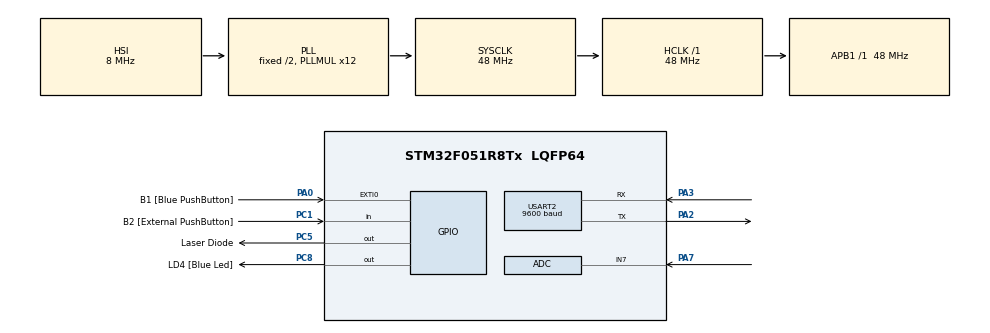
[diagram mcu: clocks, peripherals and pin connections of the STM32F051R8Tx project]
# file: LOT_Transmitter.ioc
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Dma.ADC.1.Direction=DMA_PERIPH_TO_MEMORY
Dma.ADC.1.Instance=DMA1_Channel1
Dma.ADC.1.MemDataAlignment=DMA_MDATAALIGN_HALFWORD
Dma.ADC.1.MemInc=DMA_MINC_ENABLE
Dma.ADC.1.Mode=DMA_NORMAL
Dma.ADC.1.PeriphDataAlignment=DMA_PDATAALIGN_HALFWORD
Dma.ADC.1.PeriphInc=DMA_PINC_DISABLE
Dma.ADC.1.Priority=DMA_PRIORITY_LOW
Dma.Request0=USART2_TX
Dma.Request1=ADC
Dma.USART2_TX.0.Direction=DMA_MEMORY_TO_PERIPH
Dma.USART2_TX.0.Instance=DMA1_Channel4
Dma.USART2_TX.0.MemDataAlignment=DMA_MDATAALIGN_BYTE
Dma.USART2_TX.0.MemInc=DMA_MINC_ENABLE
Dma.USART2_TX.0.Mode=DMA_NORMAL
Dma.USART2_TX.0.PeriphDataAlignment=DMA_PDATAALIGN_BYTE
Dma.USART2_TX.0.PeriphInc=DMA_PINC_DISABLE
Dma.USART2_TX.0.Priority=DMA_PRIORITY_LOW
Mcu.Family=STM32F0
Mcu.Name=STM32F051R8Tx
Mcu.Package=LQFP64
NVIC.ADC1_COMP_IRQn=true\:0\:0\:false\:false\:true\:true\:true\:true
NVIC.DMA1_Channel1_IRQn=true\:0\:0\:false\:false\:true\:false\:true\:true
NVIC.DMA1_Channel4_5_IRQn=true\:0\:0\:false\:false\:true\:false\:true\:true
NVIC.EXTI0_1_IRQn=true\:0\:0\:false\:false\:true\:true\:true\:true
NVIC.USART2_IRQn=true\:0\:0\:false\:false\:true\:true\:true\:true
PA0.GPIO_Label=B1 [Blue PushButton]
PA0.GPIO_ModeDefaultEXTI=GPIO_MODE_IT_FALLING
PA0.Signal=GPXTI0
PA13.GPIO_Label=SWDIO
PA13.Mode=Serial_Wire
PA13.Signal=SYS_SWDIO
PA14.GPIO_Label=SWCLK
PA14.Mode=Serial_Wire
PA14.Signal=SYS_SWCLK
PA2.Mode=Asynchronous
PA2.Signal=USART2_TX
PA3.Mode=Asynchronous
PA3.Signal=USART2_RX
PA7.Mode=IN7
PA7.Signal=ADC_IN7
PC1.GPIO_Label=B2 [External PushButton]
PC1.GPIO_PuPd=GPIO_PULLDOWN
PC1.Signal=GPIO_Input
PC5.GPIO_Label=Laser Diode
PC5.Signal=GPIO_Output
PC8.GPIO_Label=LD4 [Blue Led]
PC8.Signal=GPIO_Output
PF0-OSC_IN.Mode=HSE-External-Oscillator
PF0-OSC_IN.Signal=RCC_OSC_IN
PF1-OSC_OUT.Mode=HSE-External-Oscillator
PF1-OSC_OUT.Signal=RCC_OSC_OUT
ProjectManager.HeapSize=0x200
ProjectManager.StackSize=0x400
ProjectManager.TargetToolchain=STM32CubeIDE
RCC.AHBFreq_Value=48000000
RCC.APB1Freq_Value=48000000
RCC.APB1TimFreq_Value=48000000
RCC.HCLKFreq_Value=48000000
RCC.PLLMUL=RCC_PLL_MUL12
RCC.SYSCLKFreq_VALUE=48000000
RCC.SYSCLKSource=RCC_SYSCLKSOURCE_PLLCLK
TIM3.AutoReloadPreload=TIM_AUTORELOAD_PRELOAD_ENABLE
TIM3.Period=47999
USART2.BaudRate=9600
USART2.VirtualMode-Asynchronous=VM_ASYNC
VP_TIM3_VS_ClockSourceINT.Mode=Internal
board=STM32F0DISCOVERY

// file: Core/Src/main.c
/* USER CODE BEGIN Header */
/**
*******************************************************
Info:		EEE3096S Mini Project - Transmitter
Author:		Shameera Cassim, Tristyn Ferreiro
*******************************************************
This project is used for the transmitter for the LoT system.
******************************************************************************
  */
/* USER CODE END Header */
#include "main.h"

/* USER CODE BEGIN Includes */
#include "stdio.h"
#include "string.h"
/* USER CODE END Includes */

/* USER CODE BEGIN PD */
#define RATE 1			// [Hz] This is transmission rate
#define START 1			// start transmission bit is HIGH
#define READING_MODE 0	// mode 0 is transmit data reading mode
#define COUNTER_MODE 1	// mode 1 is transmit counter mode
#define STOP 0			// if transmission done
#define CONTINUE 1		// If more than one message
/* USER CODE END PD */

ADC_HandleTypeDef hadc;
DMA_HandleTypeDef hdma_adc;

TIM_HandleTypeDef htim3;

UART_HandleTypeDef huart2;
DMA_HandleTypeDef hdma_usart2_tx;

/* USER CODE BEGIN PV */

uint8_t ADCRead = 0;//used to check whether the ADC should be read or not
uint8_t reading; //used to store ADC reading
char buffer[40]; //used for UART transmission

int delay = (1/RATE) *1000; // Calculate the transmission delay
uint8_t mode = 0; // transmission mode defaults to send reading

uint8_t binary[8]; // array to store bits of the binary number
uint8_t transmissionCounter = 0; // this keeps track of how many readings have been transmitted.

/* USER CODE END PV */

void SystemClock_Config(void);
static void MX_GPIO_Init(void);
static void MX_DMA_Init(void);
static void MX_USART2_UART_Init(void);
static void MX_ADC_Init(void);
static void MX_TIM3_Init(void);
/* USER CODE BEGIN PFP */
void EXTI0_1_IRQHandler(void); //reads ADC once if blue push button pressed
uint8_t pollADC(void); //used to read value from ADC
uint8_t* decToBinConvert(uint8_t decimalValue); // converts decimal to binary
void transmit(uint8_t* binaryValue); // transmits the data by pulsing the light

/* USER CODE END PFP */

int main(void)
{

  /* MCU Configuration--------------------------------------------------------*/

  /* Reset of all peripherals, Initializes the Flash interface and the Systick. */
  HAL_Init();

  /* Configure the system clock */
  SystemClock_Config();

  /* Initialize all configured peripherals */
  MX_GPIO_Init();
  MX_DMA_Init();
  MX_USART2_UART_Init();
  MX_ADC_Init();
  MX_TIM3_Init();

  /* Infinite loop */
  /* USER CODE BEGIN WHILE */
  while (1)
  {
	  if (ADCRead == 1) {
		  	HAL_ADC_Start(&hadc); 	//start ADC
			reading = pollADC(); 	//get ADC value (this reads from the pot)
			HAL_ADC_Stop(&hadc); 	//stop ADC
			ADCRead = 0;			//reset ADCRead so that ADC only reads once

			// format and send ADC reading over UART
			sprintf(buffer, "\r\nADC read: %d\r\n", reading);
			HAL_UART_Transmit(&huart2, (uint8_t*)buffer, sizeof(buffer), 1000);

			// Convert the reading to binary
			uint8_t *binaryArray = decToBinConvert(reading);

			// format and send Binary bits over UART
			memset(buffer, 0, sizeof(buffer));
			sprintf(buffer, "\r\nBinary: ");
			HAL_UART_Transmit(&huart2, (uint8_t*)buffer, sizeof(buffer), 1000);

			memset(buffer, 0, sizeof(buffer));
			for(int i =7;i>-1;i--){
				sprintf(buffer, "%d",*(binaryArray+i));
				HAL_UART_Transmit(&huart2, (uint8_t*)buffer, sizeof(buffer), 1000);
			}

			// Indicate with UART message that transmission is taking place
			memset(buffer, 0, sizeof(buffer));
			sprintf(buffer, "\r\nTransmitting...");
			HAL_UART_Transmit(&huart2, (uint8_t*)buffer, sizeof(buffer), 1000);

			// Transmit the binary array using the light
			transmit(binaryArray);
			transmissionCounter+=1; //increment the number of readings transmitted

			// Indicate with UART message that transmission is taking place
			sprintf(buffer, "\r\nTransmitted.\r\n");
			HAL_UART_Transmit(&huart2, (uint8_t*)buffer, sizeof(buffer), 1000);
	  }

	  else if(HAL_GPIO_ReadPin(GPIOC, B2_Pin)){ // if transmitter is in counter transmission mode
		  mode = 1; //set the transmission mode to 1 (checkpoint transmit)

		  // format and send ADC reading over UART
		  sprintf(buffer, "\r\nNo. Transmissions: %d\r\n", transmissionCounter);
		  HAL_UART_Transmit(&huart2, (uint8_t*)buffer, sizeof(buffer), 1000);

		  // Convert the counter value to binary
		  uint8_t *cbinaryArray = decToBinConvert(transmissionCounter);

		  // format and send Binary bits over UART
		  memset(buffer, 0, sizeof(buffer));
		  sprintf(buffer, "\r\nBinary: ");
		  HAL_UART_Transmit(&huart2, (uint8_t*)buffer, sizeof(buffer), 1000);

		  memset(buffer, 0, sizeof(buffer));
		  for(int i =7;i>-1;i--){
			  sprintf(buffer, "%d",*(cbinaryArray+i));
			  HAL_UART_Transmit(&huart2, (uint8_t*)buffer, sizeof(buffer), 1000);
		  }

		  // Indicate with UART message that transmission is taking place
		  memset(buffer, 0, sizeof(buffer));
		  sprintf(buffer, "\r\nTransmitting...");
		  HAL_UART_Transmit(&huart2, (uint8_t*)buffer, sizeof(buffer), 1000);

		  // Transmit the binary array using the light
		  transmit(cbinaryArray);

		  // Indicate with UART message that transmission is taking place
		  sprintf(buffer, "\r\nTransmitted.\r\n");
		  HAL_UART_Transmit(&huart2, (uint8_t*)buffer, sizeof(buffer), 1000);
	  }
    /* USER CODE END WHILE */

  }
}

void SystemClock_Config(void)
{
  RCC_OscInitTypeDef RCC_OscInitStruct = {0};
  RCC_ClkInitTypeDef RCC_ClkInitStruct = {0};

  /** Initializes the RCC Oscillators according to the specified parameters
  * in the RCC_OscInitTypeDef structure.
  */
  RCC_OscInitStruct.OscillatorType = RCC_OSCILLATORTYPE_HSI|RCC_OSCILLATORTYPE_HSI14;
  RCC_OscInitStruct.HSIState = RCC_HSI_ON;
  RCC_OscInitStruct.HSI14State = RCC_HSI14_ON;
  RCC_OscInitStruct.HSICalibrationValue = RCC_HSICALIBRATION_DEFAULT;
  RCC_OscInitStruct.HSI14CalibrationValue = 16;
  RCC_OscInitStruct.PLL.PLLState = RCC_PLL_ON;
  RCC_OscInitStruct.PLL.PLLSource = RCC_PLLSOURCE_HSI;
  RCC_OscInitStruct.PLL.PLLMUL = RCC_PLL_MUL12;
  RCC_OscInitStruct.PLL.PREDIV = RCC_PREDIV_DIV1;
  if (HAL_RCC_OscConfig(&RCC_OscInitStruct) != HAL_OK)
  {
    Error_Handler();
  }

  /** Initializes the CPU, AHB and APB buses clocks
  */
  RCC_ClkInitStruct.ClockType = RCC_CLOCKTYPE_HCLK|RCC_CLOCKTYPE_SYSCLK
                              |RCC_CLOCKTYPE_PCLK1;
  RCC_ClkInitStruct.SYSCLKSource = RCC_SYSCLKSOURCE_PLLCLK;
  RCC_ClkInitStruct.AHBCLKDivider = RCC_SYSCLK_DIV1;
  RCC_ClkInitStruct.APB1CLKDivider = RCC_HCLK_DIV1;

  if (HAL_RCC_ClockConfig(&RCC_ClkInitStruct, FLASH_LATENCY_1) != HAL_OK)
  {
    Error_Handler();
  }
}

static void MX_ADC_Init(void)
{

  ADC_ChannelConfTypeDef sConfig = {0};

  /** Configure the global features of the ADC (Clock, Resolution, Data Alignment and number of conversion)
  */
  hadc.Instance = ADC1;
  hadc.Init.ClockPrescaler = ADC_CLOCK_ASYNC_DIV1;
  hadc.Init.Resolution = ADC_RESOLUTION_12B;
  hadc.Init.DataAlign = ADC_DATAALIGN_RIGHT;
  hadc.Init.ScanConvMode = ADC_SCAN_DIRECTION_FORWARD;
  hadc.Init.EOCSelection = ADC_EOC_SINGLE_CONV;
  hadc.Init.LowPowerAutoWait = DISABLE;
  hadc.Init.LowPowerAutoPowerOff = DISABLE;
  hadc.Init.ContinuousConvMode = DISABLE;
  hadc.Init.DiscontinuousConvMode = DISABLE;
  hadc.Init.ExternalTrigConv = ADC_SOFTWARE_START;
  hadc.Init.ExternalTrigConvEdge = ADC_EXTERNALTRIGCONVEDGE_NONE;
  hadc.Init.DMAContinuousRequests = DISABLE;
  hadc.Init.Overrun = ADC_OVR_DATA_PRESERVED;
  if (HAL_ADC_Init(&hadc) != HAL_OK)
  {
    Error_Handler();
  }

  /** Configure for the selected ADC regular channel to be converted.
  */
  sConfig.Channel = ADC_CHANNEL_7;
  sConfig.Rank = ADC_RANK_CHANNEL_NUMBER;
  sConfig.SamplingTime = ADC_SAMPLETIME_1CYCLE_5;
  if (HAL_ADC_ConfigChannel(&hadc, &sConfig) != HAL_OK)
  {
    Error_Handler();
  }

}

static void MX_TIM3_Init(void)
{

  TIM_ClockConfigTypeDef sClockSourceConfig = {0};
  TIM_MasterConfigTypeDef sMasterConfig = {0};

  htim3.Instance = TIM3;
  htim3.Init.Prescaler = 0;
  htim3.Init.CounterMode = TIM_COUNTERMODE_UP;
  htim3.Init.Period = 47999;
  htim3.Init.ClockDivision = TIM_CLOCKDIVISION_DIV1;
  htim3.Init.AutoReloadPreload = TIM_AUTORELOAD_PRELOAD_ENABLE;
  if (HAL_TIM_Base_Init(&htim3) != HAL_OK)
  {
    Error_Handler();
  }
  sClockSourceConfig.ClockSource = TIM_CLOCKSOURCE_INTERNAL;
  if (HAL_TIM_ConfigClockSource(&htim3, &sClockSourceConfig) != HAL_OK)
  {
    Error_Handler();
  }
  sMasterConfig.MasterOutputTrigger = TIM_TRGO_RESET;
  sMasterConfig.MasterSlaveMode = TIM_MASTERSLAVEMODE_DISABLE;
  if (HAL_TIMEx_MasterConfigSynchronization(&htim3, &sMasterConfig) != HAL_OK)
  {
    Error_Handler();
  }

}

static void MX_USART2_UART_Init(void)
{

  huart2.Instance = USART2;
  huart2.Init.BaudRate = 9600;
  huart2.Init.WordLength = UART_WORDLENGTH_8B;
  huart2.Init.StopBits = UART_STOPBITS_1;
  huart2.Init.Parity = UART_PARITY_NONE;
  huart2.Init.Mode = UART_MODE_TX_RX;
  huart2.Init.HwFlowCtl = UART_HWCONTROL_NONE;
  huart2.Init.OverSampling = UART_OVERSAMPLING_16;
  huart2.Init.OneBitSampling = UART_ONE_BIT_SAMPLE_DISABLE;
  huart2.AdvancedInit.AdvFeatureInit = UART_ADVFEATURE_NO_INIT;
  if (HAL_UART_Init(&huart2) != HAL_OK)
  {
    Error_Handler();
  }

}

static void MX_DMA_Init(void)
{

  /* DMA controller clock enable */
  __HAL_RCC_DMA1_CLK_ENABLE();

  /* DMA interrupt init */
  /* DMA1_Channel1_IRQn interrupt configuration */
  HAL_NVIC_SetPriority(DMA1_Channel1_IRQn, 0, 0);
  HAL_NVIC_EnableIRQ(DMA1_Channel1_IRQn);
  /* DMA1_Channel4_5_IRQn interrupt configuration */
  HAL_NVIC_SetPriority(DMA1_Channel4_5_IRQn, 0, 0);
  HAL_NVIC_EnableIRQ(DMA1_Channel4_5_IRQn);

}

static void MX_GPIO_Init(void)
{
  GPIO_InitTypeDef GPIO_InitStruct = {0};

  /* GPIO Ports Clock Enable */
  __HAL_RCC_GPIOF_CLK_ENABLE();
  __HAL_RCC_GPIOC_CLK_ENABLE();
  __HAL_RCC_GPIOA_CLK_ENABLE();

  /*Configure GPIO pin Output Level */
  HAL_GPIO_WritePin(Laser_Diode_GPIO_Port, Laser_Diode_Pin, GPIO_PIN_RESET);

  /*Configure GPIO pin : B2_Pin */
  GPIO_InitStruct.Pin = B2_Pin;
  GPIO_InitStruct.Mode = GPIO_MODE_INPUT;
  GPIO_InitStruct.Pull = GPIO_PULLDOWN;
  HAL_GPIO_Init(B2_GPIO_Port, &GPIO_InitStruct);

  /*Configure GPIO pin : B1_Pin */
  GPIO_InitStruct.Pin = B1_Pin;
  GPIO_InitStruct.Mode = GPIO_MODE_IT_FALLING;
  GPIO_InitStruct.Pull = GPIO_NOPULL;
  HAL_GPIO_Init(B1_GPIO_Port, &GPIO_InitStruct);

  /*Configure GPIO pin : Laser_Diode_Pin */
  GPIO_InitStruct.Pin = Laser_Diode_Pin;
  GPIO_InitStruct.Mode = GPIO_MODE_OUTPUT_PP;
  GPIO_InitStruct.Pull = GPIO_NOPULL;
  GPIO_InitStruct.Speed = GPIO_SPEED_FREQ_LOW;
  HAL_GPIO_Init(Laser_Diode_GPIO_Port, &GPIO_InitStruct);

  /* EXTI interrupt init*/
  HAL_NVIC_SetPriority(EXTI0_1_IRQn, 0, 0);
  HAL_NVIC_EnableIRQ(EXTI0_1_IRQn);

}

/* USER CODE BEGIN 4 */

/*
 * This method takes is used to set the user transmit mode to 0 and set the ADCRead value
 * to one if the blue push button is pressed so that the ADC is read in the main method.
 */
void EXTI0_1_IRQHandler(void)
{
	// Correct debouncing:
	uint32_t current = HAL_GetTick();
	for (int i = current; i < (current + 10); i++); //delay by 10 ticks

	mode = 0; // enter "transmit reading mode" when blue pushbutton pressed
	ADCRead = 1; //if blue push button pressed,  set ADCRead to 1 so that ADC read once

	// Clear interrupt flags
	HAL_GPIO_EXTI_IRQHandler(B1_Pin);
}

/*
 * This method takes polls the ADC, gets the value and returns the
 * 8 bit unsigned integer value.
 */
uint8_t pollADC(void){
	HAL_ADC_PollForConversion(&hadc, 500);
	// get digital value
	uint32_t val = HAL_ADC_GetValue(&hadc);
	return val;
}

/*
 * This method takes in a decimal value and converts it to its decimal version. The
 * binary bits are then returned.
 * The system pulses light to transmit the data and so needs known logic levels (1s and 0s) to know
 * when to turn the light on and off.
 */
uint8_t* decToBinConvert(uint8_t decimalValue){
	memset(binary, 0, sizeof(binary)); // reset the array to prevent memory write errors

	int counter=0; // keep track of position in array
	uint8_t temp = decimalValue; // used for conversion, do not want to change original value.

	if(decimalValue<256){ // only working with 8-bit numbers
		  int remainder=0;

		  while (temp!=0) {
		    remainder = temp % 2;
		    temp /= 2; // floors result of division because temp is integer

		    binary[counter] = remainder; // store the remainder in the binary number
		    counter++;
		  }

		  return binary;
	}
}

/*
 * This method transmits the data by pulsing a light. This transmission follows the LoT message
 * protocol structure:
 * 	Start bit (1)		Mode(0/1)		Message (8bits)			Stop/Continue (0/1)
 */
void transmit(uint8_t *binaryValue){

	// Transmit START Bit
	HAL_GPIO_WritePin(GPIOC, Laser_Diode_Pin,START);
	HAL_Delay(delay);

	// Transmit MODE
	if(mode){ //if mode ==1, enter counter transmission mode
		HAL_GPIO_WritePin(GPIOC, Laser_Diode_Pin,COUNTER_MODE);
		HAL_Delay(delay);

	}else{
		HAL_GPIO_WritePin(GPIOC, Laser_Diode_Pin,READING_MODE);
		HAL_Delay(delay);
	}

	// Transmit MESSAGE: the 8 bit binary value
	for(int i =7;i>=0;i--){
		HAL_GPIO_WritePin(GPIOC, Laser_Diode_Pin,*(binaryValue+i));
		HAL_Delay(delay);
	}

	// Transmit STOP/continue bit
	HAL_GPIO_WritePin(GPIOC, Laser_Diode_Pin,STOP);
	HAL_Delay(delay);

	HAL_GPIO_WritePin(GPIOC, Laser_Diode_Pin,GPIO_PIN_RESET); // Reset GPIO state and on board blue led
}

/* USER CODE END 4 */

void Error_Handler(void)
{
  __disable_irq();
  while (1)
  {
  }
}
